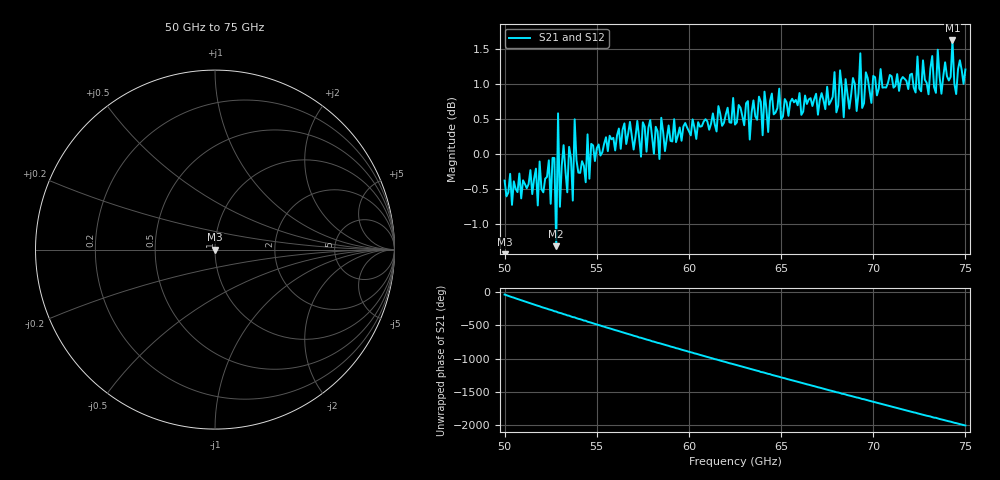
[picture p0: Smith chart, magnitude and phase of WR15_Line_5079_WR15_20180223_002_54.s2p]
# GHZ S RI R 50
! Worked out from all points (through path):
!   251 points, 50 GHz to 75 GHz, reference 50 ohm
!   highest |S21| = 1.63 dB at 74.3 GHz (marker M1); lowest = -1.3 dB at 52.8 GHz (marker M2)
!   lowest |S11| = - dB at 50 GHz (marker M3), VSWR 1.00, Z = 50 - j2.17e-15 ohm
!   |S11| at or under -10 dB: start of sweep to end of sweep
!   |S22| runs from - to - dB; largest |S21 - S12| = 1e-14
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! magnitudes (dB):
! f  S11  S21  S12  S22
! 50 GHz  -  -0.4  -0.4  -
! 52.4 GHz  -  -0.1  -0.1  -
! 52.5 GHz  -  -0.7  -0.7  -
! 52.7 GHz  -  -0.1  -0.1  -
! 52.8 GHz  -  -1.3  -1.3  -
! 52.9 GHz  -  0.6  0.6  -
! 53 GHz  -  -0.8  -0.8  -
! 53.2 GHz  -  0.1  0.1  -
! 53.7 GHz  -  -0.7  -0.7  -
! 53.8 GHz  -  0.5  0.5  -
! 54.2 GHz  -  -0.1  -0.1  -
! 58.4 GHz  -  -0.1  -0.1  -
! 58.5 GHz  -  0.5  0.5  -
! 62.5 GHz  -  0.4  0.4  -
! 66.7 GHz  -  0.7  0.7  -
! 70.9 GHz  -  1.1  1.1  -
! 73.4 GHz  -  0.9  0.9  -
! 73.5 GHz  -  1.5  1.5  -
! 73.7 GHz  -  0.9  0.9  -
! 74.3 GHz  -  1.6  1.6  -
! 74.5 GHz  -  0.9  0.9  -
! 75 GHz  -  1.2  1.2  -
